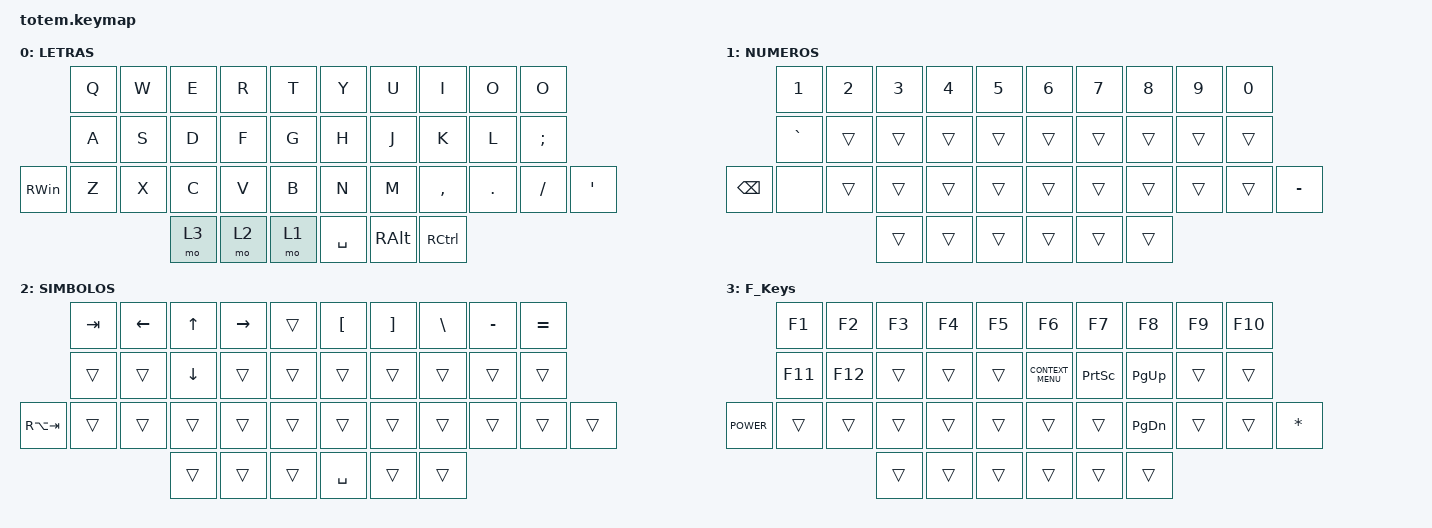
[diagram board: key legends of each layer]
//
//                                                        ▀▀▀▀▀     ▀▀▀▀▀          ▀▀█▀▀
//                                                        ▄▀▀▀▄  ▄  ▄▀▀▀▄  ▄  ▄▀▀▀▄  █  ▄▀▀▀▄
//                                                        █   █  █  █   █  █  █   █  █  █   █
//                                                         ▀▀▀   █   ▀▀▀   █   ▀▀▀   ▀   ▀▀▀
//                                                               █      ▄▄▄█▄▄▄    █   █  
//                                                               ▀      █  █  █     █▄█
//                                                             ▀▀▀▀▀    █  █  █      ▀
//                                                                      ▀  ▀  ▀
//
// ▄▄▄▄▄▄▄▄▄▄▄▄▄▄▄▄▄▄▄▄▄▄▄▄▄▄▄▄▄▄▄▄▄▄▄▄▄▄▄▄▄▄▄▄▄▄▄▄▄▄▄▄▄▄▄▄▄▄▄▄▄▄▄▄▄▄▄▄▄▄▄▄▄▄▄▄▄▄▄▄▄▄▄▄▄▄▄▄▄▄▄▄▄▄▄▄▄▄▄▄▄▄▄▄▄▄▄▄▄▄▄▄▄▄▄▄▄▄▄▄▄▄▄▄▄▄▄▄▄▄▄▄▄▄▄▄▄▄▄▄▄▄▄▄▄▄▄▄▄

#include <behaviors.dtsi>
#include <dt-bindings/zmk/bt.h>
#include <dt-bindings/zmk/keys.h>

/ {
    combos {
        compatible = "zmk,combos";

        Ebter {
            bindings = <&kp ENTER>;
            key-positions = <16 18 17>;
            timeout-ms = <75>;
        };

        backspace {
            bindings = <&kp BACKSPACE>;
            key-positions = <6 7 8>;
            timeout-ms = <75>;
        };

        Delet {
            bindings = <&kp DELETE>;
            key-positions = <27 28 29>;
            timeout-ms = <75>;
        };

        space {
            bindings = <&kp SPACE>;
            key-positions = <11 12 13>;
            timeout-ms = <75>;
        };

        escape {
            bindings = <&kp ESCAPE>;
            key-positions = <1 2 3>;
            timeout-ms = <75>;
        };

        R_shift {
            bindings = <&kp RIGHT_SHIFT>;
            key-positions = <26 27>;
            timeout-ms = <75>;
        };

        L_shift {
            bindings = <&kp LEFT_SHIFT>;
            key-positions = <24 25>;
            timeout-ms = <75>;
        };

        BT_CLEAR {
            bindings = <&bt BT_CLR_ALL>;
            key-positions = <32 33 34 35 36 37>;
        };
    };

    keymap {
        compatible = "zmk,keymap";

        LETRAS {
            bindings = <
               &kp Q  &kp W  &kp E  &kp R  &kp T    &kp Y      &kp U          &kp I              &kp O    &kp O
               &kp A  &kp S  &kp D  &kp F  &kp G    &kp H      &kp J          &kp K              &kp L    &kp SEMI
&kp RIGHT_WIN  &kp Z  &kp X  &kp C  &kp V  &kp B    &kp N      &kp M          &kp COMMA          &kp DOT  &kp FSLH  &kp SINGLE_QUOTE
                             &mo 3  &mo 2  &mo 1    &kp SPACE  &kp RIGHT_ALT  &kp RIGHT_CONTROL
            >;
        };

        NUMEROS {
            bindings = <
               &kp NUMBER_1  &kp NUMBER_2  &kp NUMBER_3  &kp NUMBER_4  &kp N5    &kp NUMBER_6  &kp N7  &kp N8  &kp N9  &kp N0
               &kp GRAVE     &trans        &trans        &trans        &trans    &trans        &trans  &trans  &trans  &trans
&kp BACKSPACE  &none         &trans        &trans        &trans        &trans    &trans        &trans  &trans  &trans  &trans  &kp MINUS
                                           &trans        &trans        &trans    &trans        &trans  &trans
            >;
        };

        SIMBOLOS {
            bindings = <
             &kp TAB  &kp LEFT  &kp UP_ARROW    &kp RIGHT_ARROW  &trans    &kp LEFT_BRACKET  &kp RIGHT_BRACKET  &kp BACKSLASH  &kp MINUS  &kp EQUAL
             &trans   &trans    &kp DOWN_ARROW  &trans           &trans    &trans            &trans             &trans         &trans     &trans
&kp RA(TAB)  &trans   &trans    &trans          &trans           &trans    &trans            &trans             &trans         &trans     &trans     &trans
                                &trans          &trans           &trans    &kp SPACE         &trans             &trans
            >;
        };

        F_Keys {
            bindings = <
             &kp F1   &kp F2   &kp F3  &kp F4  &kp F5    &kp F6              &kp F7           &kp F8         &kp F9  &kp F10
             &kp F11  &kp F12  &trans  &trans  &trans    &kp K_CONTEXT_MENU  &kp PRINTSCREEN  &kp PAGE_UP    &trans  &trans
&kp K_POWER  &trans   &trans   &trans  &trans  &trans    &trans              &trans           &kp PAGE_DOWN  &trans  &trans   &kp ASTERISK
                               &trans  &trans  &trans    &trans              &trans           &trans
            >;
        };
    };

    conditional_layers {
        compatible = "zmk,conditional-layers";

        ESPECIAL {
            if-layers = <1 2 3>;
            then-layer = <4>;
        };
    };
};
